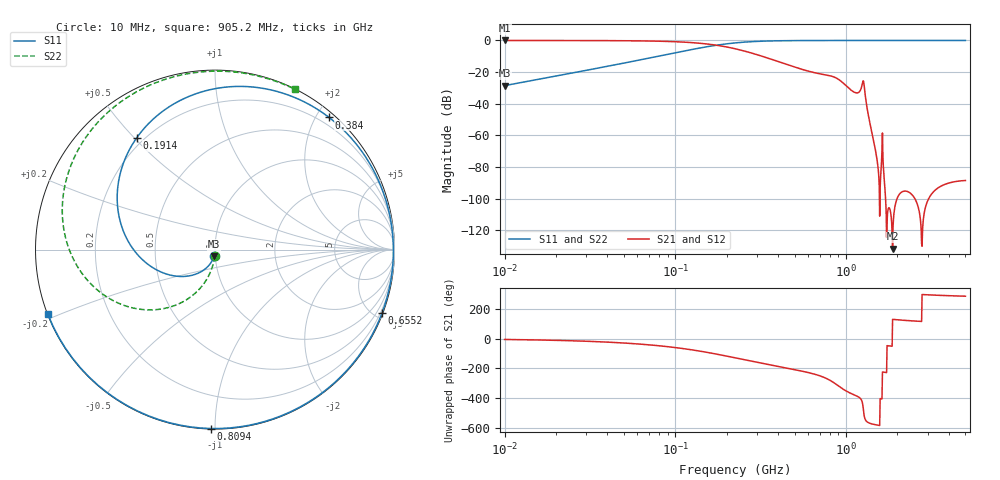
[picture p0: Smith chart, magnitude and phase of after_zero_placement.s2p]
! Created with skrf 1.11.0 (http://scikit-rf.org).
# Hz S RI R 50.0
!freq ReS11 ImS11 ReS21 ImS21 ReS12 ImS12 ReS22 ImS22
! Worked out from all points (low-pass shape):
!   1001 points, 10 MHz to 5 GHz, reference 50 ohm
!   highest |S21| = -0.01 dB at 10 MHz (marker M1); lowest = -131.5 dB at 1.873 GHz (marker M2)
!   |S21| within 3 dB of the highest: start of sweep to 173.9 MHz
!   lowest |S11| = -28.5 dB at 10 MHz (marker M3), VSWR 1.08, Z = 49.3 - j3.65 ohm
!   |S11| at or under -10 dB: start of sweep to 79.21 MHz
!   |S22| runs from -28.5 to 0.0 dB; largest |S21 - S12| = 2.6e-10
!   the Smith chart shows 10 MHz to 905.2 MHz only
!   S11 on the Smith chart (normalised r, x): 10 MHz: 0.99, -0.07; 191.4 MHz: 0.17, +0.51; 384 MHz: 0.08, +2.18; 655.2 MHz: 0.07, -5.49; 809.4 MHz: 0.00, -0.98; 905.2 MHz: 0.00, -0.19
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1e7  -0.0055 -0.037  0.994 -0.1029  0.994 -0.1029  -0.00219 -0.0373
2.823111e7  -0.0431 -0.0975  0.9523 -0.286  0.9523 -0.286  -0.0178 -0.1051
7.969957e7  -0.2912 -0.1288  0.6375 -0.7016  0.6375 -0.7016  -0.156 -0.2775
1.914303e8  -0.4365 0.6223  -0.2538 -0.5981  -0.2538 -0.5981  -0.7509 -0.1185
2.236068e8  -0.2526 0.7975  -0.3419 -0.4281  -0.3419 -0.4281  -0.8336 0.07
3.839683e8  0.6357 0.7362  -0.2319 0.00995  -0.2319 0.00995  -0.5703 0.7879
6.312669e8  0.9686 -0.2275  -0.0597 0.0804  -0.0597 0.0804  0.0631 0.993
6.552497e8  0.9316 -0.3508  -0.05 0.0814  -0.05 0.0814  0.1085 0.9895
7.328047e8  0.6391 -0.7644  -0.0192 0.0825  -0.0192 0.0825  0.2372 0.9678
8.09416e8  -0.0243 -0.9968  0.0142 0.0748  0.0142 0.0748  0.3414 0.9368
9.052181e8  -0.931 -0.3603  0.0433 0.0394  0.0433 0.0394  0.4468 0.8927
9.998544e8  -0.7866 0.6164  0.0368 0.00644  0.0368 0.00644  0.5302 0.8471
1.097542e9  -0.1872 0.982  0.0239 -0.00551  0.0239 -0.00551  0.5991 0.8003
1.182521e9  0.3534 0.9352  0.0196 -0.0116  0.0196 -0.0116  0.6479 0.7614
1.219843e9  0.7138 0.6997  0.0206 -0.0197  0.0206 -0.0197  0.6666 0.7449
1.258342e9  0.4498 -0.8916  -0.0076 -0.0526  -0.0076 -0.0526  0.6835 0.728
1.306148e9  -0.4666 0.8844  -0.013 0.00194  -0.013 0.00194  0.7043 0.7098
1.347371e9  -0.0509 0.9987  -0.00434 0.00172  -0.00434 0.00172  0.7206 0.6933
1.544773e9  0.4645 0.8856  -6.08e-05 5.03e-05  -6.08e-05 5.03e-05  0.7824 0.6227
1.782137e9  0.6604 0.7509  3.41e-06 -3.91e-06  3.41e-06 -3.91e-06  0.8333 0.5528
1.872978e9  0.7048 0.7094  -1.66e-07 2.08e-07  -1.66e-07 2.08e-07  0.8482 0.5296
5e9  0.9684 0.2495  8.63e-06 -3.66e-05  8.63e-06 -3.66e-05  0.9777 0.2101
